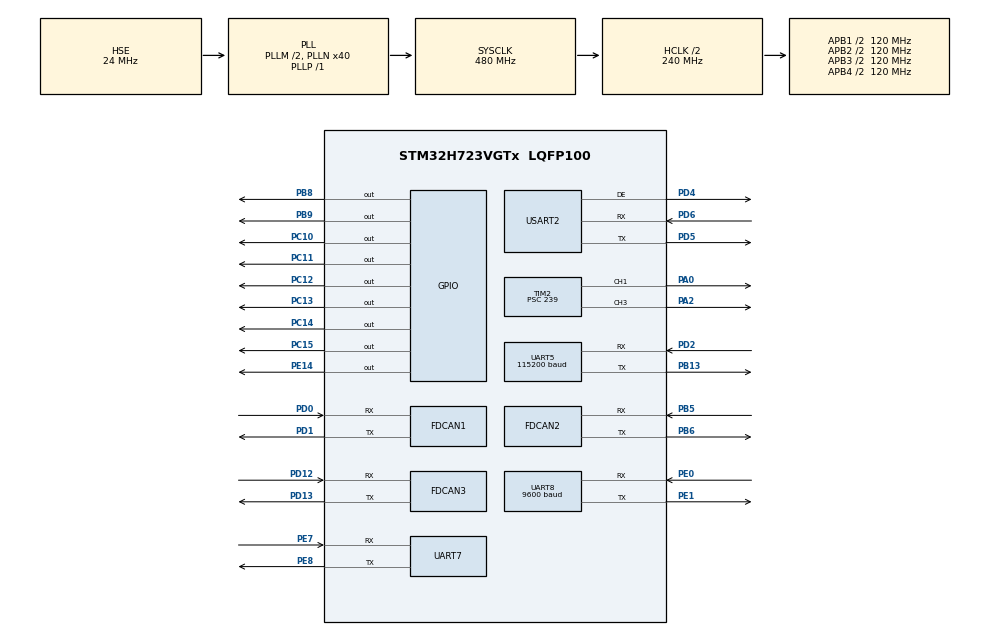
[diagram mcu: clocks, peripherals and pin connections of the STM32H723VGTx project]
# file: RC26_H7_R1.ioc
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CORTEX_M7.AccessPermission-Cortex_Memory_Protection_Unit_Region0_Settings=MPU_REGION_FULL_ACCESS
CORTEX_M7.BaseAddress-Cortex_Memory_Protection_Unit_Region0_Settings=0x20000000
CORTEX_M7.Enable-Cortex_Memory_Protection_Unit_Region0_Settings=MPU_REGION_ENABLE
CORTEX_M7.IsBufferable-Cortex_Memory_Protection_Unit_Region0_Settings=MPU_ACCESS_BUFFERABLE
CORTEX_M7.IsCacheable-Cortex_Memory_Protection_Unit_Region0_Settings=MPU_ACCESS_CACHEABLE
CORTEX_M7.MPU_Control=MPU_PRIVILEGED_DEFAULT
CORTEX_M7.Size-Cortex_Memory_Protection_Unit_Region0_Settings=MPU_REGION_SIZE_512KB
CORTEX_M7.TypeExtField-Cortex_Memory_Protection_Unit_Region0_Settings=MPU_TEX_LEVEL1
CORTEX_M7.default_mode_Activation=0
Dma.Request0=UART5_RX
Dma.Request1=UART7_RX
Dma.Request2=USART2_RX
Dma.UART5_RX.0.Direction=DMA_PERIPH_TO_MEMORY
Dma.UART5_RX.0.EventEnable=DISABLE
Dma.UART5_RX.0.FIFOMode=DMA_FIFOMODE_DISABLE
Dma.UART5_RX.0.Instance=DMA1_Stream2
Dma.UART5_RX.0.MemDataAlignment=DMA_MDATAALIGN_BYTE
Dma.UART5_RX.0.MemInc=DMA_MINC_ENABLE
Dma.UART5_RX.0.Mode=DMA_CIRCULAR
Dma.UART5_RX.0.PeriphDataAlignment=DMA_PDATAALIGN_BYTE
Dma.UART5_RX.0.PeriphInc=DMA_PINC_DISABLE
Dma.UART5_RX.0.Polarity=HAL_DMAMUX_REQ_GEN_RISING
Dma.UART5_RX.0.Priority=DMA_PRIORITY_VERY_HIGH
Dma.UART5_RX.0.RequestNumber=1
Dma.UART5_RX.0.SignalID=NONE
Dma.UART5_RX.0.SyncEnable=DISABLE
Dma.UART5_RX.0.SyncPolarity=HAL_DMAMUX_SYNC_NO_EVENT
Dma.UART5_RX.0.SyncRequestNumber=1
Dma.UART5_RX.0.SyncSignalID=NONE
Dma.UART7_RX.1.Direction=DMA_PERIPH_TO_MEMORY
Dma.UART7_RX.1.EventEnable=DISABLE
Dma.UART7_RX.1.FIFOMode=DMA_FIFOMODE_DISABLE
Dma.UART7_RX.1.Instance=DMA1_Stream3
Dma.UART7_RX.1.MemDataAlignment=DMA_MDATAALIGN_BYTE
Dma.UART7_RX.1.MemInc=DMA_MINC_ENABLE
Dma.UART7_RX.1.Mode=DMA_NORMAL
Dma.UART7_RX.1.PeriphDataAlignment=DMA_PDATAALIGN_BYTE
Dma.UART7_RX.1.PeriphInc=DMA_PINC_DISABLE
Dma.UART7_RX.1.Polarity=HAL_DMAMUX_REQ_GEN_RISING
Dma.UART7_RX.1.Priority=DMA_PRIORITY_LOW
Dma.UART7_RX.1.RequestNumber=1
Dma.UART7_RX.1.SignalID=NONE
Dma.UART7_RX.1.SyncEnable=DISABLE
Dma.UART7_RX.1.SyncPolarity=HAL_DMAMUX_SYNC_NO_EVENT
Dma.UART7_RX.1.SyncRequestNumber=1
Dma.UART7_RX.1.SyncSignalID=NONE
Dma.USART2_RX.2.Direction=DMA_PERIPH_TO_MEMORY
Dma.USART2_RX.2.EventEnable=DISABLE
Dma.USART2_RX.2.FIFOMode=DMA_FIFOMODE_DISABLE
Dma.USART2_RX.2.Instance=DMA1_Stream0
Dma.USART2_RX.2.MemDataAlignment=DMA_MDATAALIGN_BYTE
Dma.USART2_RX.2.MemInc=DMA_MINC_ENABLE
Dma.USART2_RX.2.Mode=DMA_CIRCULAR
Dma.USART2_RX.2.PeriphDataAlignment=DMA_PDATAALIGN_BYTE
Dma.USART2_RX.2.PeriphInc=DMA_PINC_DISABLE
Dma.USART2_RX.2.Polarity=HAL_DMAMUX_REQ_GEN_RISING
Dma.USART2_RX.2.Priority=DMA_PRIORITY_LOW
Dma.USART2_RX.2.RequestNumber=1
Dma.USART2_RX.2.SignalID=NONE
Dma.USART2_RX.2.SyncEnable=DISABLE
Dma.USART2_RX.2.SyncPolarity=HAL_DMAMUX_SYNC_NO_EVENT
Dma.USART2_RX.2.SyncRequestNumber=1
Dma.USART2_RX.2.SyncSignalID=NONE
FDCAN1.CalculateBaudRateNominal=1000000
FDCAN1.CalculateTimeBitNominal=1000
FDCAN1.CalculateTimeQuantumNominal=25.0
FDCAN1.DataPrescaler=3
FDCAN1.DataSyncJumpWidth=10
FDCAN1.DataTimeSeg1=29
FDCAN1.DataTimeSeg2=10
FDCAN1.NominalPrescaler=3
FDCAN1.NominalSyncJumpWidth=10
FDCAN1.NominalTimeSeg1=29
FDCAN1.NominalTimeSeg2=10
FDCAN1.RxFifo0ElmtsNbr=12
FDCAN1.StdFiltersNbr=1
FDCAN1.TxFifoQueueElmtsNbr=12
FDCAN2.CalculateBaudRateNominal=1000000
FDCAN2.CalculateTimeBitNominal=1000
FDCAN2.CalculateTimeQuantumNominal=25.0
FDCAN2.DataPrescaler=3
FDCAN2.DataSyncJumpWidth=10
FDCAN2.DataTimeSeg1=29
FDCAN2.DataTimeSeg2=10
FDCAN2.MessageRAMOffset=854
FDCAN2.NominalPrescaler=3
FDCAN2.NominalSyncJumpWidth=10
FDCAN2.NominalTimeSeg1=29
FDCAN2.NominalTimeSeg2=10
FDCAN2.RxFifo0ElmtsNbr=12
FDCAN2.StdFiltersNbr=1
FDCAN2.TxFifoQueueElmtsNbr=12
FDCAN3.CalculateBaudRateNominal=1000000
FDCAN3.CalculateTimeBitNominal=1000
FDCAN3.CalculateTimeQuantumNominal=25.0
FDCAN3.DataPrescaler=3
FDCAN3.DataSyncJumpWidth=10
FDCAN3.DataTimeSeg1=29
FDCAN3.DataTimeSeg2=10
FDCAN3.MessageRAMOffset=1707
FDCAN3.NominalPrescaler=3
FDCAN3.NominalSyncJumpWidth=10
FDCAN3.NominalTimeSeg1=29
FDCAN3.NominalTimeSeg2=10
FDCAN3.RxFifo0ElmtsNbr=12
FDCAN3.StdFiltersNbr=1
FDCAN3.TxFifoQueueElmtsNbr=12
FREERTOS.Tasks01=defaultTask,24,128,StartDefaultTask,Default,NULL,Dynamic,NULL,NULL;FreeTask,32,128,Free_Task,As weak,NULL,Dynamic,NULL,NULL;SentTask,48,128,Sent_Task,As weak,NULL,Dynamic,NULL,NULL
Mcu.Family=STM32H7
Mcu.Name=STM32H723VGTx
Mcu.Package=LQFP100
NVIC.DMA1_Stream0_IRQn=true\:5\:0\:false\:false\:true\:true\:false\:true\:true
NVIC.DMA1_Stream2_IRQn=true\:5\:0\:false\:false\:true\:true\:false\:true\:true
NVIC.DMA1_Stream3_IRQn=true\:5\:0\:false\:false\:true\:true\:false\:true\:true
NVIC.FDCAN1_IT0_IRQn=true\:6\:0\:true\:false\:true\:true\:true\:true\:true
NVIC.FDCAN2_IT0_IRQn=true\:6\:0\:true\:false\:true\:true\:true\:true\:true
NVIC.FDCAN3_IT0_IRQn=true\:6\:0\:true\:false\:true\:true\:true\:true\:true
NVIC.PriorityGroup=NVIC_PRIORITYGROUP_4
NVIC.TIM4_IRQn=true\:6\:0\:true\:false\:true\:true\:true\:true\:true
NVIC.TIM5_IRQn=true\:6\:0\:true\:false\:true\:true\:true\:true\:true
NVIC.TIM8_BRK_TIM12_IRQn=true\:5\:0\:false\:false\:true\:true\:true\:true\:true
NVIC.TIM8_UP_TIM13_IRQn=true\:15\:0\:false\:false\:true\:false\:false\:true\:true
NVIC.TimeBase=TIM8_UP_TIM13_IRQn
NVIC.TimeBaseIP=TIM8
NVIC.UART5_IRQn=true\:5\:0\:true\:false\:true\:true\:true\:true\:true
NVIC.UART7_IRQn=true\:5\:0\:true\:false\:true\:true\:true\:true\:true
NVIC.UART8_IRQn=true\:6\:0\:true\:false\:true\:true\:true\:true\:true
NVIC.USART2_IRQn=true\:5\:0\:false\:false\:true\:true\:true\:true\:true
PA0.Signal=S_TIM2_CH1_ETR
PA13(JTMS/SWDIO).Mode=Serial_Wire
PA13(JTMS/SWDIO).Signal=DEBUG_JTMS-SWDIO
PA14(JTCK/SWCLK).Mode=Serial_Wire
PA14(JTCK/SWCLK).Signal=DEBUG_JTCK-SWCLK
PA2.Signal=S_TIM2_CH3
PB13.Mode=Asynchronous
PB13.Signal=UART5_TX
PB5.Mode=FDCAN_Activate
PB5.Signal=FDCAN2_RX
PB6.Mode=FDCAN_Activate
PB6.Signal=FDCAN2_TX
PB8.GPIO_PuPd=GPIO_PULLDOWN
PB8.Signal=GPIO_Output
PB9.GPIO_PuPd=GPIO_PULLDOWN
PB9.Signal=GPIO_Output
PC10.GPIO_PuPd=GPIO_PULLDOWN
PC10.Signal=GPIO_Output
PC11.GPIO_PuPd=GPIO_PULLDOWN
PC11.Signal=GPIO_Output
PC12.GPIO_PuPd=GPIO_PULLDOWN
PC12.Signal=GPIO_Output
PC13.GPIO_PuPd=GPIO_PULLUP
PC13.Signal=GPIO_Output
PC14-OSC32_IN.GPIO_PuPd=GPIO_PULLUP
PC14-OSC32_IN.Signal=GPIO_Output
PC15-OSC32_OUT.GPIO_PuPd=GPIO_PULLUP
PC15-OSC32_OUT.Signal=GPIO_Output
PD0.Mode=FDCAN_Activate
PD0.Signal=FDCAN1_RX
PD1.Mode=FDCAN_Activate
PD1.Signal=FDCAN1_TX
PD12.Mode=FDCAN_Activate
PD12.Signal=FDCAN3_RX
PD13.Mode=FDCAN_Activate
PD13.Signal=FDCAN3_TX
PD2.Mode=Asynchronous
PD2.Signal=UART5_RX
PD4.Mode=Hardware Flow Control (RS485)
PD4.Signal=USART2_DE
PD5.Mode=Asynchronous
PD5.Signal=USART2_TX
PD6.Mode=Asynchronous
PD6.Signal=USART2_RX
PE0.Mode=Asynchronous
PE0.Signal=UART8_RX
PE1.Mode=Asynchronous
PE1.Signal=UART8_TX
PE14.GPIO_PuPd=GPIO_PULLDOWN
PE14.Signal=GPIO_Output
PE7.Mode=Asynchronous
PE7.Signal=UART7_RX
PE8.Mode=Asynchronous
PE8.Signal=UART7_TX
PH0-OSC_IN.Mode=HSE-External-Oscillator
PH0-OSC_IN.Signal=RCC_OSC_IN
PH1-OSC_OUT.Mode=HSE-External-Oscillator
PH1-OSC_OUT.Signal=RCC_OSC_OUT
ProjectManager.HeapSize=0x200
ProjectManager.StackSize=0x400
ProjectManager.TargetToolchain=MDK-ARM V5.32
RCC.ADCFreq_Value=48375000
RCC.APB1Freq_Value=120000000
RCC.APB2Freq_Value=120000000
RCC.APB3Freq_Value=120000000
RCC.APB4Freq_Value=120000000
RCC.CortexFreq_Value=480000000
RCC.D1PPRE=RCC_APB3_DIV2
RCC.D2PPRE1=RCC_APB1_DIV2
RCC.D2PPRE2=RCC_APB2_DIV2
RCC.D3PPRE=RCC_APB4_DIV2
RCC.DIVM1=2
RCC.DIVN1=40
RCC.DIVP1=1
RCC.DIVQ1=4
RCC.HCLKFreq_Value=240000000
RCC.HPRE=RCC_HCLK_DIV2
RCC.HSE_VALUE=24000000
RCC.PLL2FRACN=0
RCC.PLL3FRACN=0
RCC.PLLFRACN=0
RCC.PLLSourceVirtual=RCC_PLLSOURCE_HSE
RCC.SYSCLKFreq_VALUE=480000000
RCC.SYSCLKSource=RCC_SYSCLKSOURCE_PLLCLK
RCC.USBFreq_Value=120000000
SH.S_TIM2_CH1_ETR.0=TIM2_CH1,PWM Generation1 CH1
SH.S_TIM2_CH3.0=TIM2_CH3,PWM Generation3 CH3
TIM12.Period=19999
TIM12.Prescaler=23
TIM2.AutoReloadPreload=TIM_AUTORELOAD_PRELOAD_ENABLE
TIM2.Channel-PWM\ Generation1\ CH1=TIM_CHANNEL_1
TIM2.Channel-PWM\ Generation3\ CH3=TIM_CHANNEL_3
TIM2.Period=19999
TIM2.Prescaler=239
TIM4.Period=9999
TIM4.Prescaler=239
TIM5.Period=39999
TIM5.Prescaler=23
UART5.BaudRate=115200
UART5.Parity=PARITY_NONE
UART5.RxPinLevelInvertParam=UART_ADVFEATURE_RXINV_ENABLE
UART5.StopBits=UART_STOPBITS_1
UART5.WordLength=WORDLENGTH_8B
UART8.BaudRate=9600
USART2.VirtualMode-Asynchronous=VM_ASYNC
USART2.VirtualMode-Hardware\ Flow\ Control\ (RS485)=VM_ASYNC
VP_FREERTOS_VS_CMSIS_V2.Mode=CMSIS_V2
VP_MEMORYMAP_VS_MEMORYMAP.Mode=CurAppReg
VP_SYS_VS_tim8.Mode=TIM8
VP_TIM12_VS_ClockSourceINT.Mode=Internal
VP_TIM2_VS_ClockSourceINT.Mode=Internal
VP_TIM4_VS_ClockSourceINT.Mode=Internal
VP_TIM5_VS_ClockSourceINT.Mode=Internal
board=custom

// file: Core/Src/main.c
/* USER CODE BEGIN Header */
/**
  ******************************************************************************
  * @file           : main.c
  * @brief          : Main program body
  ******************************************************************************
  * @attention
  *
  * Copyright (c) 2026 STMicroelectronics.
  * All rights reserved.
  *
  * This software is licensed under terms that can be found in the LICENSE file
  * in the root directory of this software component.
  * If no LICENSE file comes with this software, it is provided AS-IS.
  *
  ******************************************************************************
  */
/* USER CODE END Header */
#include "main.h"
#include "FreeRTOS.h"
#include "cmsis_os2.h"
#include "dma.h"
#include "fdcan.h"
#include "tim.h"
#include "usart.h"
#include "gpio.h"

/* USER CODE BEGIN Includes */
#include "register.h"
#include "bsp_can.h"
#include "bsp_uart.h"
#include "imu.h"
/* USER CODE END Includes */

void SystemClock_Config(void);
static void MPU_Config(void);
void MX_FREERTOS_Init(void);

int main(void)
{

  /* MPU Configuration--------------------------------------------------------*/
  MPU_Config();

  /* MCU Configuration--------------------------------------------------------*/

  /* Reset of all peripherals, Initializes the Flash interface and the Systick. */
  HAL_Init();

  /* Configure the system clock */
  SystemClock_Config();

  /* Initialize all configured peripherals */
  MX_GPIO_Init();
  MX_DMA_Init();
  MX_TIM2_Init();
  MX_TIM4_Init();
  MX_UART5_Init();
  MX_UART7_Init();
  MX_FDCAN1_Init();
  MX_FDCAN2_Init();
  MX_FDCAN3_Init();
  MX_TIM5_Init();
  MX_UART8_Init();
  MX_TIM12_Init();
  MX_USART2_UART_Init();
  /* USER CODE BEGIN 2 */
  BSP_CAN_Init();
  BSP_USART_Init();
  (void)IMU_HI14_PowerOnInit();

  HAL_Delay(1500);
  Structue_Init();
	HAL_Delay(5);
	HAL_GPIO_WritePin(GPIOC,GPIO_PIN_15,GPIO_PIN_SET);
	HAL_TIM_Base_Start(&htim2);
  HAL_TIM_PWM_Start(&htim2,TIM_CHANNEL_1 );
  HAL_TIM_PWM_Start(&htim2,TIM_CHANNEL_3 );
	BSP_USART2_DE(0U);  /* ???????????? */
	HAL_TIM_Base_Start_IT(&htim12);
	HAL_TIM_Base_Start(&htim4);
	HAL_TIM_Base_Start_IT(&htim4);
	HAL_TIM_Base_Start(&htim5);
	HAL_TIM_Base_Start_IT(&htim5);
	 __HAL_TIM_SET_COMPARE(&htim2,TIM_CHANNEL_1,1600);
	 __HAL_TIM_SET_COMPARE(&htim2,TIM_CHANNEL_3,2500);
  /* USER CODE END 2 */

  /* Init scheduler */
  osKernelInitialize();  /* Call init function for freertos objects (in cmsis_os2.c) */
  MX_FREERTOS_Init();

  /* Start scheduler */
  osKernelStart();

  /* We should never get here as control is now taken by the scheduler */

  /* Infinite loop */
  while (1)
  {

  }
}

void SystemClock_Config(void)
{
  RCC_OscInitTypeDef RCC_OscInitStruct = {0};
  RCC_ClkInitTypeDef RCC_ClkInitStruct = {0};

  /** Supply configuration update enable
  */
  HAL_PWREx_ConfigSupply(PWR_LDO_SUPPLY);

  /** Configure the main internal regulator output voltage
  */
  __HAL_PWR_VOLTAGESCALING_CONFIG(PWR_REGULATOR_VOLTAGE_SCALE0);

  while(!__HAL_PWR_GET_FLAG(PWR_FLAG_VOSRDY)) {}

  /** Initializes the RCC Oscillators according to the specified parameters
  * in the RCC_OscInitTypeDef structure.
  */
  RCC_OscInitStruct.OscillatorType = RCC_OSCILLATORTYPE_HSE;
  RCC_OscInitStruct.HSEState = RCC_HSE_ON;
  RCC_OscInitStruct.PLL.PLLState = RCC_PLL_ON;
  RCC_OscInitStruct.PLL.PLLSource = RCC_PLLSOURCE_HSE;
  RCC_OscInitStruct.PLL.PLLM = 2;
  RCC_OscInitStruct.PLL.PLLN = 40;
  RCC_OscInitStruct.PLL.PLLP = 1;
  RCC_OscInitStruct.PLL.PLLQ = 4;
  RCC_OscInitStruct.PLL.PLLR = 2;
  RCC_OscInitStruct.PLL.PLLRGE = RCC_PLL1VCIRANGE_3;
  RCC_OscInitStruct.PLL.PLLVCOSEL = RCC_PLL1VCOWIDE;
  RCC_OscInitStruct.PLL.PLLFRACN = 0;
  if (HAL_RCC_OscConfig(&RCC_OscInitStruct) != HAL_OK)
  {
    Error_Handler();
  }

  /** Initializes the CPU, AHB and APB buses clocks
  */
  RCC_ClkInitStruct.ClockType = RCC_CLOCKTYPE_HCLK|RCC_CLOCKTYPE_SYSCLK
                              |RCC_CLOCKTYPE_PCLK1|RCC_CLOCKTYPE_PCLK2
                              |RCC_CLOCKTYPE_D3PCLK1|RCC_CLOCKTYPE_D1PCLK1;
  RCC_ClkInitStruct.SYSCLKSource = RCC_SYSCLKSOURCE_PLLCLK;
  RCC_ClkInitStruct.SYSCLKDivider = RCC_SYSCLK_DIV1;
  RCC_ClkInitStruct.AHBCLKDivider = RCC_HCLK_DIV2;
  RCC_ClkInitStruct.APB3CLKDivider = RCC_APB3_DIV2;
  RCC_ClkInitStruct.APB1CLKDivider = RCC_APB1_DIV2;
  RCC_ClkInitStruct.APB2CLKDivider = RCC_APB2_DIV2;
  RCC_ClkInitStruct.APB4CLKDivider = RCC_APB4_DIV2;

  if (HAL_RCC_ClockConfig(&RCC_ClkInitStruct, FLASH_LATENCY_3) != HAL_OK)
  {
    Error_Handler();
  }
}

 /* MPU Configuration */

void MPU_Config(void)
{
  MPU_Region_InitTypeDef MPU_InitStruct = {0};

  /* Disables the MPU */
  HAL_MPU_Disable();

  /** Initializes and configures the Region and the memory to be protected
  */
  MPU_InitStruct.Enable = MPU_REGION_ENABLE;
  MPU_InitStruct.Number = MPU_REGION_NUMBER0;
  MPU_InitStruct.BaseAddress = 0x20000000;
  MPU_InitStruct.Size = MPU_REGION_SIZE_512KB;
  MPU_InitStruct.SubRegionDisable = 0x0;
  MPU_InitStruct.TypeExtField = MPU_TEX_LEVEL1;
  MPU_InitStruct.AccessPermission = MPU_REGION_FULL_ACCESS;
  MPU_InitStruct.DisableExec = MPU_INSTRUCTION_ACCESS_ENABLE;
  MPU_InitStruct.IsShareable = MPU_ACCESS_NOT_SHAREABLE;
  MPU_InitStruct.IsCacheable = MPU_ACCESS_CACHEABLE;
  MPU_InitStruct.IsBufferable = MPU_ACCESS_BUFFERABLE;

  HAL_MPU_ConfigRegion(&MPU_InitStruct);
  /* Enables the MPU */
  HAL_MPU_Enable(MPU_PRIVILEGED_DEFAULT);

}

void HAL_TIM_PeriodElapsedCallback(TIM_HandleTypeDef *htim)
{
  if (htim->Instance == TIM8)
  {
    HAL_IncTick();
  }
}

void Error_Handler(void)
{
  __disable_irq();
  while (1)
  {
  }
}
